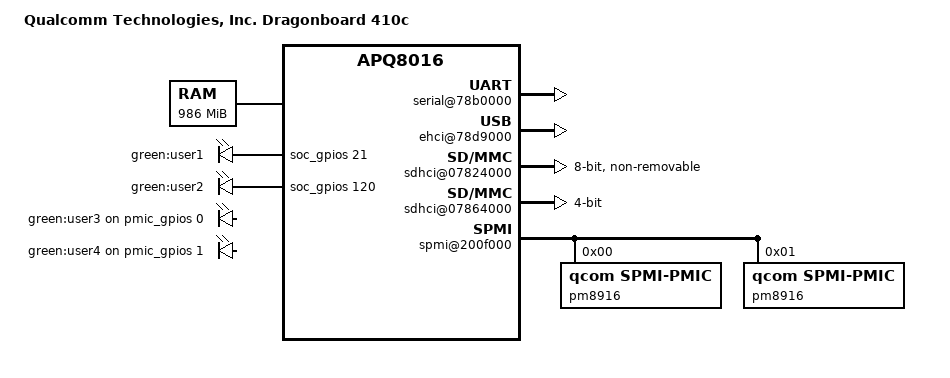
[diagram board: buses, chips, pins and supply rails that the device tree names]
/dts-v1/;

#include "skeleton64.dtsi"

/ {
	model = "Qualcomm Technologies, Inc. Dragonboard 410c";
	compatible = "qcom,dragonboard", "qcom,apq8016-sbc";
	qcom,msm-id = <0xce 0x0 0xf8 0x0 0xf9 0x0 0xfa 0x0 0xf7 0x0>;
	qcom,board-id = <0x10018 0x0>;
	#address-cells = <0x2>;
	#size-cells = <0x2>;

	memory {
		device_type = "memory";
		reg = <0 0x80000000 0 0x3da00000>;
	};

	chosen {
		stdout-path = "/soc/serial@78b0000";
	};


	soc {
		#address-cells = <0x1>;
		#size-cells = <0x1>;
		ranges = <0x0 0x0 0x0 0xffffffff>;
		compatible = "simple-bus";

		qcom,gcc@1800000 {
			compatible = "qcom,gcc-msm8916";
			reg = <0x1800000 0x80000>;
			#address-cells = <0x1>;
			#size-cells = <0x0>;

			gpll0: gpll@2101c {
				compatible = "qcom,gcc-msm8916,gpll";
				reg = <0x2101C>; /* status */
				vote = <0x45000 0>; /* vote reg, bit */
			};

			clk_uart2_iface: cbc@1008 {
				compatible = "qcom,gcc-msm8916,cbc";
				reg = <0x1008>; /* CBCR */
			};

			clk_uart2_apps: rcg@302c {
				compatible = "qcom,gcc-msm8916,rcg";
				/* CBCR, CMD, CFG, M, N, D*/
				reg = <0x302C 0x3034 0x3038 0x303C 0x3040 0x3044>;
				rate = <1 144 15625>; /* div, m, n */
				clocls = <&gpll0>;
			};

			clk_sdc1_iface: cbc@4101c {
				compatible = "qcom,gcc-msm8916,cbc";
				reg = <0x4101C>; /* CBCR */
			};

			clk_sdc1_apps: rcg@0x41018 {
				compatible = "qcom,gcc-msm8916,rcg";
				/* CBCR, CMD, CFG, M, N, D*/
				reg = <0x41018 0x41004 0x41008 0x4100C 0x41010 0x41014>;
				rate = <8 0 0>; /* div, m, n */
				clocls = <&gpll0>;
			};

			clk_sdc2_iface: cbc@4201c {
				compatible = "qcom,gcc-msm8916,cbc";
				reg = <0x4201C>; /* CBCR */
			};

			clk_sdc2_apps: rcg@0x42018 {
				compatible = "qcom,gcc-msm8916,rcg";
				/* CBCR, CMD, CFG, M, N, D*/
				reg = <0x42018 0x42004 0x42008 0x4200C 0x42010 0x42014>;
				rate = <4 0 0>; /* div, m, n */
				clocls = <&gpll0>;
			};
		};

		serial@78b0000 {
			compatible = "qcom,msm-uartdm-v1.4";
			reg = <0x78b0000 0x200>;
			u-boot,dm-pre-reloc;
			clocks = <&clk_uart2_iface>, <&clk_uart2_apps>;
		};

		restart@4ab000 {
			compatible = "qcom,pshold";
			reg = <0x4ab000 0x4>;
		};

		soc_gpios: pinctrl@1000000 {
			compatible = "qcom,msm8916-pinctrl";
			reg = <0x1000000 0x300000>;
			gpio-controller;
			gpio-count = <122>;
			gpio-bank-name="soc";
		};

		ehci@78d9000 {
			compatible = "qcom,ehci-host";
			reg = <0x78d9000 0x400>;
		};

		sdhci@07824000 {
			compatible = "qcom,sdhci-msm-v4";
			reg = <0x7824900 0x11c 0x7824000 0x800>;
			bus-width = <0x8>;
			index = <0x0>;
			non-removable;
			clocks = <&clk_sdc1_iface>, <&clk_sdc1_apps>;
		};

		sdhci@07864000 {
			compatible = "qcom,sdhci-msm-v4";
			reg = <0x7864900 0x11c 0x7864000 0x800>;
			index = <0x1>;
			bus-width = <0x4>;
			clocks = <&clk_sdc2_iface>, <&clk_sdc2_apps>;
		};

		spmi@200f000 {
			compatible = "qcom,spmi-pmic-arb";
			reg = <0x200f000 0x1000 0x2400000 0x400000 0x2c00000 0x400000 0x3800000 0x200000 0x200a000 0x2100>;
			reg-names = "core", "chnls", "obsrvr", "intr", "cnfg";
			#address-cells = <0x1>;
			#size-cells = <0x0>;
			pm8916@0 {
				compatible = "qcom,spmi-pmic";
				reg = <0x0>;
				#address-cells = <0x1>;
				#size-cells = <0x0>;

				pwrkey@800 {
					compatible = "qcom,pm8941-pwrkey";
					reg = <0x800>;
				};

				pmic_gpios: gpios@c000 {
					compatible = "qcom,pm8916-gpio";
					reg = <0xc000 0x400>;
					gpio-controller;
					gpio-count = <4>;
					gpio-bank-name="pmic";

					usb_hub_reset_n_pm {
						gpios = <&pmic_gpios 2 0>;
					};

					usb_sw_sel_pm {
						gpios = <&pmic_gpios 3 0>;
					};

				};
			};

			pm8916@1 {
				compatible = "qcom,spmi-pmic";
				reg = <0x1>;
				#address-cells = <0x1>;
				#size-cells = <0x0>;
			};
		};
	};

	leds {
		compatible = "gpio-leds";
		user1 {
			label = "green:user1";
			gpios = <&soc_gpios 21 0>;
		};

		user2 {
			label = "green:user2";
			gpios = <&soc_gpios 120 0>;
		};

		user3 {
			label = "green:user3";
			gpios = <&pmic_gpios 0 0>;
		};

		user4 {
			label = "green:user4";
			gpios = <&pmic_gpios 1 0>;
		};
	};
};
